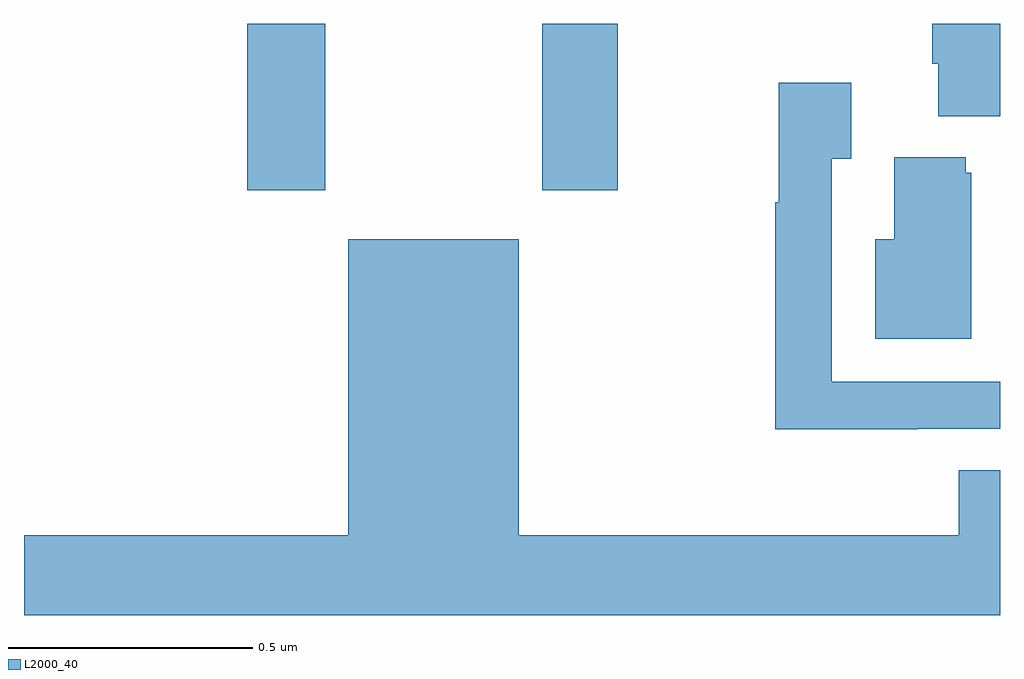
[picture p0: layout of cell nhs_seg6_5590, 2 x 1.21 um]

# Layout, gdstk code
import gdstk
lib = gdstk.Library(unit=1e-6, precision=1e-09)
def R(c, l, rs):  # rectangles x0, y0, x1, y1
    for r in rs: c.add(gdstk.rectangle(r[:2], r[2:], *l))
def P(c, l, *ps):  # polygons
    for p in ps: c.add(gdstk.Polygon(p, *l))
L2000_40 = (2000, 40)

nhs_seg6_5590 = lib.new_cell('nhs_seg6_5590')
R(nhs_seg6_5590, L2000_40, [(184.457,996.159,184.617,996.5), (185.062,996.159,185.217,996.5)])
P(nhs_seg6_5590, L2000_40, [(186,996.5),(185.861,996.5),(185.861,996.418),(185.873,996.418),(185.873,996.311),(186,996.311)],
  [(185.831,995.67),(186,995.67),(186,995.766),(185.655,995.766),(185.655,996.223),(185.695,996.223),(185.695,996.379),(185.547,996.379),(185.547,996.134),(185.539,996.134),(185.539,995.669),(185.831,995.669)],
  [(185.941,996.195),(185.93,996.195),(185.93,996.226),(185.783,996.226),(185.783,996.058),(185.744,996.058),(185.744,995.855),(185.941,995.855)],
  [(186,995.585),(185.915,995.585),(185.915,995.452),(185.014,995.452),(185.014,996.058),(184.664,996.058),(184.664,995.452),(184,995.452),(184,995.288),(186,995.288)])

lib.write_gds('nhs_seg6_5590.gds')
